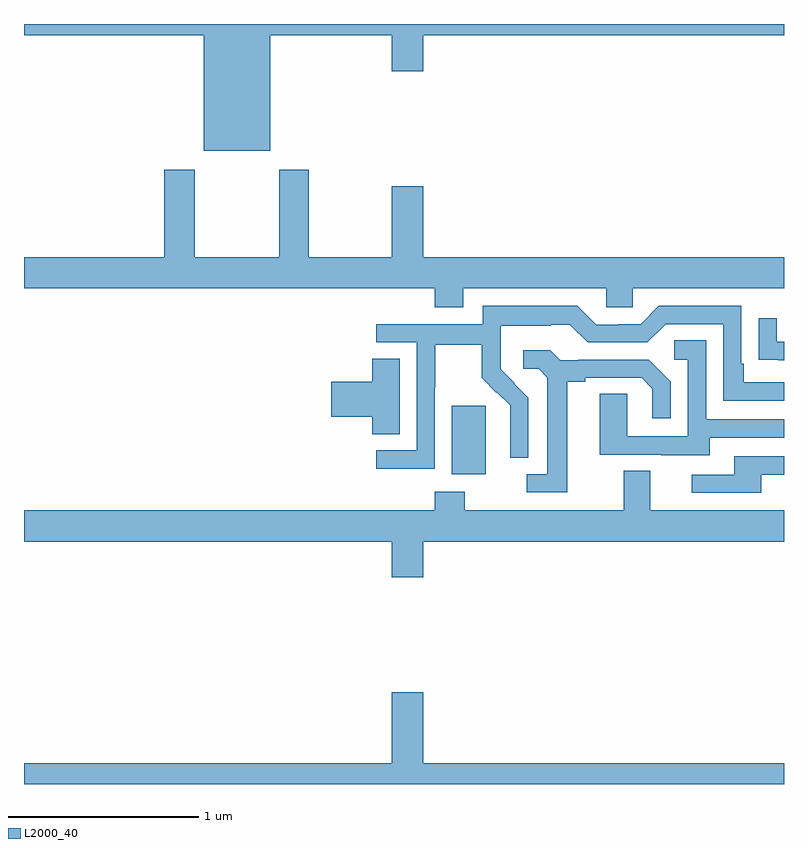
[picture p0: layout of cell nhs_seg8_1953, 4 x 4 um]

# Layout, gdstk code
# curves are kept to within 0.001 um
import gdstk
lib = gdstk.Library(unit=1e-6, precision=1e-09)
def R(c, l, rs):  # rectangles x0, y0, x1, y1
    for r in rs: c.add(gdstk.rectangle(r[:2], r[2:], *l))
def P(c, l, *ps):  # polygons
    for p in ps: c.add(gdstk.Polygon(p, *l))
L2000_40 = (2000, 40)

nhs_seg8_1953 = lib.new_cell('nhs_seg8_1953')
R(nhs_seg8_1953, L2000_40, [(237.251,1107.53,237.43,1107.891)])
P(nhs_seg8_1953, L2000_40, [(236.296,1109.84),(236.936,1109.84),(236.936,1109.652),(237.1,1109.652),(237.1,1109.84),(239,1109.84),(239,1109.9),(235,1109.9),(235,1109.84),(235.946,1109.84),(235.946,1109.234),(236.296,1109.234)],
  [(237.313,1108.508),(238.065,1108.508),(238.065,1108.41),(238.203,1108.41),(238.203,1108.508),(239,1108.508),(239,1108.672),(237.1,1108.672),(237.1,1109.047),(236.936,1109.047),(236.936,1108.672),(236.499,1108.672),(236.499,1109.134),(236.344,1109.134),(236.344,1108.672),(235.899,1108.672),(235.899,1109.134),(235.739,1109.134),(235.739,1108.672),(235,1108.672),(235,1108.508),(237.161,1108.508),(237.161,1108.409),(237.313,1108.409)],
  [(237.162,1107.988),(237.165,1107.988),(237.165,1108.212),(237.409,1108.212),(237.409,1108.037),(237.486,1107.96),(237.489,1107.963),(237.56,1107.893),(237.56,1107.77),(237.558,1107.77),(237.558,1107.616),(237.654,1107.616),(237.654,1107.934),(237.508,1108.082),(237.508,1108.179),(237.51,1108.179),(237.51,1108.313),(237.773,1108.313),(237.773,1108.317),(237.873,1108.317),(237.966,1108.224),(238.281,1108.224),(238.377,1108.32),(238.68,1108.32),(238.68,1107.918),(239,1107.918),(239,1108.014),(238.789,1108.014),(238.789,1108.111),(238.776,1108.111),(238.776,1108.416),(238.341,1108.416),(238.245,1108.32),(238.127,1108.32),(238.127,1108.317),(238.011,1108.317),(237.911,1108.417),(237.414,1108.417),(237.414,1108.32),(236.853,1108.32),(236.853,1108.224),(237.066,1108.224),(237.066,1107.657),(236.853,1107.657),(236.853,1107.559),(237.162,1107.559)],
  [(239,1108.227),(238.963,1108.227),(238.963,1108.351),(238.867,1108.351),(238.867,1108.132),(238.969,1108.132),(238.969,1108.131),(239,1108.131)],
  [(238.609,1107.723),(239,1107.723),(239,1107.819),(238.59,1107.819),(238.59,1108.235),(238.422,1108.235),(238.422,1108.134),(238.494,1108.134),(238.494,1107.729),(238.176,1107.729),(238.176,1107.953),(238.031,1107.953),(238.031,1107.633),(238.355,1107.633),(238.355,1107.629),(238.609,1107.629)],
  [(237.859,1108.016),(237.955,1108.016),(237.955,1108.038),(238.25,1108.038),(238.307,1107.981),(238.307,1107.825),(238.404,1107.825),(238.404,1108.018),(238.288,1108.134),(237.916,1108.134),(237.916,1108.131),(237.822,1108.131),(237.77,1108.183),(237.627,1108.183),(237.627,1108.086),(237.708,1108.086),(237.755,1108.039),(237.755,1107.531),(237.645,1107.531),(237.645,1107.435),(237.859,1107.435)],
  [(236.977,1108.139),(236.834,1108.139),(236.834,1108.016),(236.616,1108.016),(236.616,1107.833),(236.834,1107.833),(236.834,1107.742),(236.977,1107.742)],
  [(238.879,1107.528),(239,1107.528),(239,1107.624),(238.739,1107.624),(238.739,1107.528),(238.515,1107.528),(238.515,1107.432),(238.879,1107.432)],
  [(237.1,1107.176),(239,1107.176),(239,1107.34),(238.297,1107.34),(238.297,1107.548),(238.157,1107.548),(238.157,1107.34),(237.321,1107.34),(237.321,1107.439),(237.161,1107.439),(237.161,1107.34),(235,1107.34),(235,1107.176),(236.936,1107.176),(236.936,1106.988),(237.1,1106.988)],
  [(239,1106.008),(237.1,1106.008),(237.1,1106.383),(236.936,1106.383),(236.936,1106.008),(235,1106.008),(235,1105.9),(239,1105.9)])

lib.write_gds('nhs_seg8_1953.gds')
